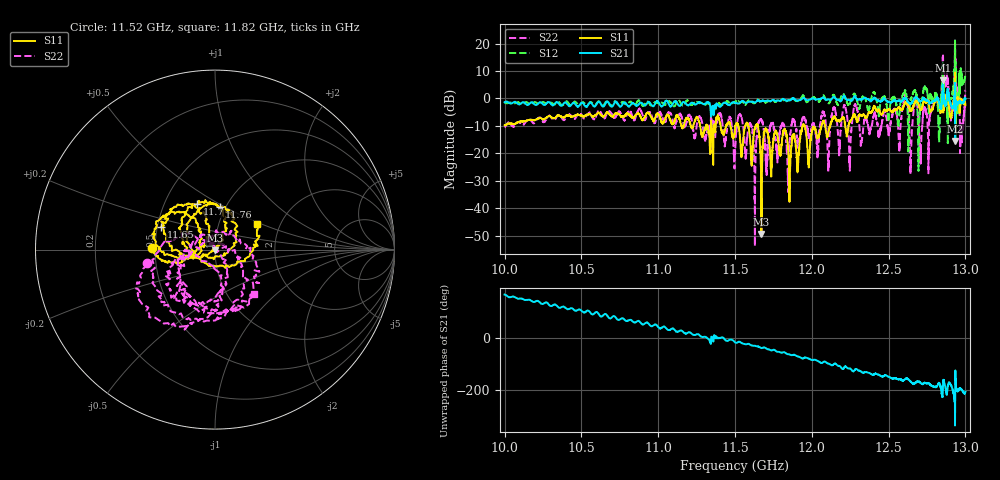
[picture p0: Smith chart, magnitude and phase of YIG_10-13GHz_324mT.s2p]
#  HZ  S  RI  R  50.0
! Rohde & Schwarz ZVL13 2Ports - Version 3.31 - 1303.6509k13 SN: 101088
! Date: 2023-03-06 15:55:25
! Data & Calibration Information:
! Trc4:S11(TOSM) Trc2:S21(TOSM) Trc3:S12(TOSM) Trc5:S22(TOSM)
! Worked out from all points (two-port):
!   4000 points, 10 GHz to 13 GHz, reference 50 ohm
!   highest |S21| = 6.67 dB at 12.85 GHz (marker M1); lowest = -15.5 dB at 12.93 GHz (marker M2)
!   |S21| within 3 dB of the highest: 12.8504 GHz to 12.85543 GHz (5.039 MHz wide, 0.0392 % of centre); 12.93136 GHz to 12.93331 GHz (1.949 MHz wide, 0.0151 % of centre)
!   lowest |S11| = -49.4 dB at 11.67 GHz (marker M3), VSWR 1.01, Z = 49.9 - j0.32 ohm
!   |S11| at or under -10 dB: 11.58611 GHz to 11.63498 GHz (48.87 MHz wide, 0.421 % of centre); 11.65 GHz to 11.94 GHz (292.1 MHz wide, 2.48 % of centre); 11.95 GHz to 12.06 GHz (108.3 MHz wide, 0.902 % of centre)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
!   |S22| runs from -53.9 to 21.1 dB; largest |S21 - S12| = 10
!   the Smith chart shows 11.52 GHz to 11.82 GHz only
!   S11 on the Smith chart (normalised r, x): 11.52 GHz: 0.48, +0.01; 11.65 GHz: 0.52, +0.15; 11.7 GHz: 0.73, +0.40; 11.76 GHz: 0.94, +0.47; 11.82 GHz: 1.52, +0.46
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1e10  0.3159 0.0795  -0.8317 0.1953  -0.8133 0.2351  0.2309 0.1864
1.050038e10  0.346 -0.3409  -0.2108 0.8071  -0.2769 0.7627  0.4981 -0.1244
1.1e10  -0.1539 -0.4935  0.6409 0.5924  0.5475 0.5998  -0.00882 -0.5323
1.150038e10  -0.2637 0.1436  0.7939 -0.2357  0.8191 -0.2321  -0.0979 0.0129
1.151613e10  -0.3483 0.00911  0.7779 -0.231  0.881 -0.2521  -0.3812 -0.0747
1.164741e10  -0.3021 0.1272  0.7897 -0.488  0.8079 -0.5198  -0.3054 0.0108
1.167142e10  -0.00106 -0.00321  0.7021 -0.5517  0.7333 -0.5031  -0.1244 -0.3866
1.170143e10  -0.0978 0.2522  0.6986 -0.5681  0.6321 -0.5681  0.0591 -0.00397
1.176144e10  0.0257 0.2357  0.6158 -0.6602  0.5796 -0.6444  0.2044 -0.0197
1.18192e10  0.2317 0.1409  0.5706 -0.7808  0.5917 -0.727  0.2167 -0.2452
1.2e10  0.0705 -0.2254  0.1095 -0.9785  0.0496 -1.004  0.0802 -0.2849
1.250038e10  -0.5053 -0.4032  -0.7328 -0.4611  -0.384 -0.1633  0.00823 -0.227
1.278245e10  -0.5766 0.2162  -0.8705 0.0384  -1.002 -0.1126  -0.5406 -0.4036
1.282446e10  -0.8018 0.1763  -0.8995 -0.1004  -0.1964 -0.2683  0.7395 0.0561
1.283721e10  -0.5319 0.1849  -0.6638 0.0137  -0.4318 0.5481  0.1686 0.7458
1.285296e10  -1.41 0.1927  -2.129 0.3309  -3.859 -2.054  -5.679 -0.599
1.286947e10  -0.7459 0.6089  -0.7137 0.0836  -0.7858 -0.6383  -0.6194 -1.638
1.291823e10  -0.3226 0.6402  -0.651 0.2345  -1.175 0.7557  0.0347 0.6606
1.293398e10  0.0932 1.156  -0.1407 0.0918  2.439 1.741  2.997 -1.714
1.294899e10  -0.5331 0.8829  -0.7666 0.3135  0.3308 -0.772  -0.1831 -1.076
1.297224e10  -0.5249 0.7334  -0.8268 0.2391  -2.503 0.8804  -0.2996 -0.1814
1.3e10  -0.392 0.6374  -0.8866 0.4191  -2.603 -0.9982  -1.392 0.1226
